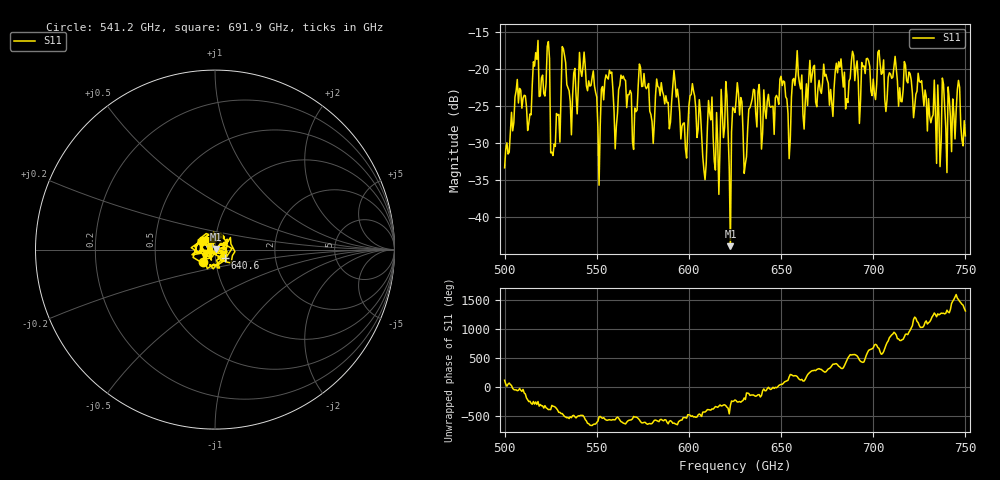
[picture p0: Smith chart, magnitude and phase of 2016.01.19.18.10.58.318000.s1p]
!Created with skrf (http://scikit-rf.org).
# GHz S RI R 50.0
!freq ReS11 ImS11
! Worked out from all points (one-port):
!   401 points, 500 GHz to 750 GHz, reference 50 ohm
!   lowest |S11| = -43.9 dB at 622.5 GHz (marker M1), VSWR 1.01, Z = 50.5 + j0.401 ohm
!   |S11| at or under -10 dB: start of sweep to end of sweep
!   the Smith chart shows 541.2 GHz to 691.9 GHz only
!   S11 on the Smith chart (normalised r, x): 541.2 GHz: 0.87, -0.13; 640.6 GHz: 1.12, -0.10; 691.9 GHz: 0.87, +0.09
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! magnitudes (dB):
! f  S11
! 500 GHz  -33.3
! 506.9 GHz  -21.4
! 513.1 GHz  -27.3
! 516.9 GHz  -17.8
! 523.1 GHz  -17.0
! 526.2 GHz  -31.7
! 531.2 GHz  -17.0
! 541.2 GHz  -20.2
! 550.6 GHz  -27.9
! 562.5 GHz  -22.2
! 570.6 GHz  -25.3
! 593.8 GHz  -22.7
! 598.1 GHz  -30.8
! 602.5 GHz  -23.0
! 608.1 GHz  -33.6
! 611.2 GHz  -25.9
! 615 GHz  -25.9
! 619.4 GHz  -27.8
! 622.5 GHz  -43.9
! 625 GHz  -25.9
! 630.6 GHz  -32.8
! 634.4 GHz  -24.0
! 640.6 GHz  -22.8
! 656.2 GHz  -21.5
! 687.5 GHz  -21.3
! 691.9 GHz  -21.6
! 718.8 GHz  -21.9
! 750 GHz  -29.0
